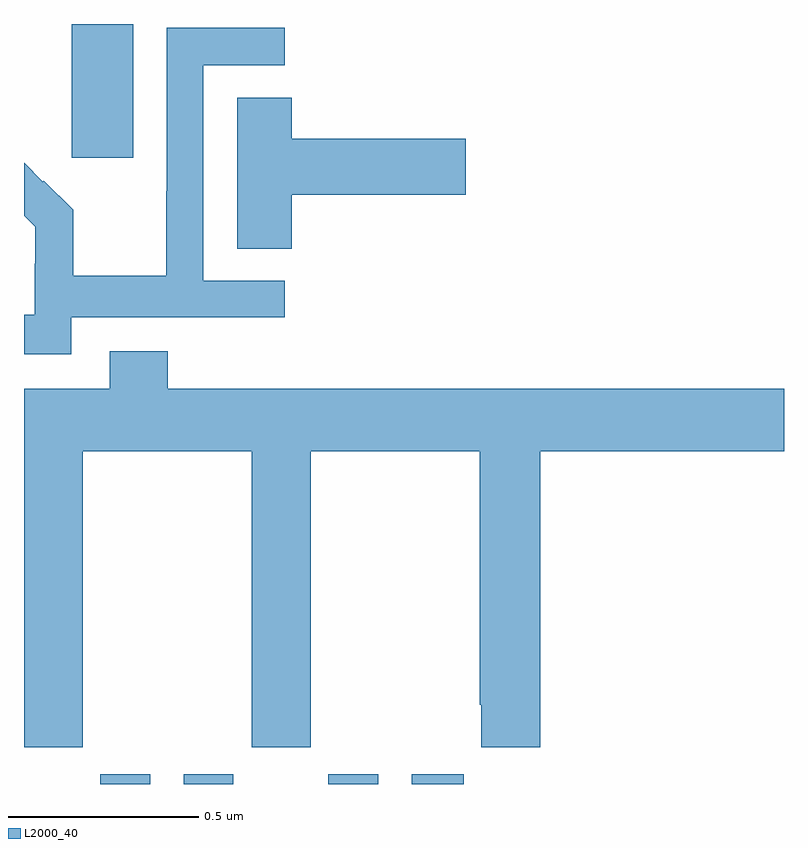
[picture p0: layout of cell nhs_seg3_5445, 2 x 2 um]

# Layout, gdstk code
import gdstk
lib = gdstk.Library(unit=1e-6, precision=1e-09)
def R(c, l, rs):  # rectangles x0, y0, x1, y1
    for r in rs: c.add(gdstk.rectangle(r[:2], r[2:], *l))
def P(c, l, *ps):  # polygons
    for p in ps: c.add(gdstk.Polygon(p, *l))
L2000_40 = (2000, 40)

nhs_seg3_5445 = lib.new_cell('nhs_seg3_5445')
R(nhs_seg3_5445, L2000_40, [(179.201,673.4,179.332,673.426), (179.42,673.4,179.551,673.426), (179.801,673.4,179.932,673.426), (180.02,673.4,180.157,673.426), (179.126,675.048,179.287,675.4)])
P(nhs_seg3_5445, L2000_40, [(179.124,674.628),(179.686,674.628),(179.686,674.724),(179.472,674.724),(179.472,675.291),(179.686,675.291),(179.686,675.39),(179.376,675.39),(179.376,674.96),(179.374,674.96),(179.374,674.737),(179.129,674.737),(179.129,674.911),(179.052,674.988),(179.049,674.985),(179,675.035),(179,674.896),(179.03,674.866),(179.03,674.769),(179.028,674.769),(179.028,674.635),(179,674.635),(179,674.531),(179.124,674.531)],
  [(179.705,674.951),(180.163,674.951),(180.163,675.098),(179.705,675.098),(179.705,675.206),(179.561,675.206),(179.561,674.809),(179.705,674.809)],
  [(179.154,674.276),(179.599,674.276),(179.599,673.497),(179.754,673.497),(179.754,674.276),(180.199,674.276),(180.199,673.609),(180.203,673.609),(180.203,673.497),(180.359,673.497),(180.359,674.276),(181,674.276),(181,674.44),(179.378,674.44),(179.378,674.539),(179.225,674.539),(179.225,674.44),(179,674.44),(179,673.497),(179.154,673.497)])

lib.write_gds('nhs_seg3_5445.gds')
